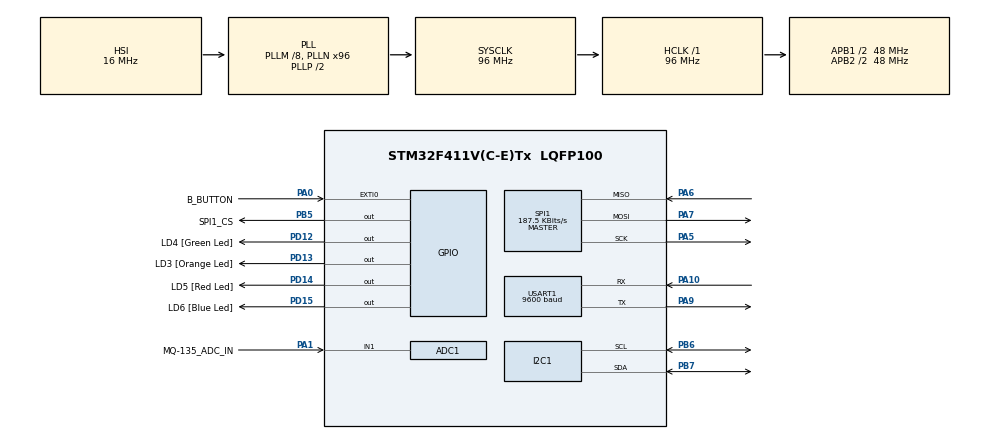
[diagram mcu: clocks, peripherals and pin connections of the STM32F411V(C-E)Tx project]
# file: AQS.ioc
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ADC1.Channel-1\#ChannelRegularConversion=ADC_CHANNEL_1
ADC1.NbrOfConversionFlag=1
ADC1.Rank-1\#ChannelRegularConversion=1
ADC1.SamplingTime-1\#ChannelRegularConversion=ADC_SAMPLETIME_3CYCLES
ADC1.master=1
Mcu.Family=STM32F4
Mcu.Name=STM32F411V(C-E)Tx
Mcu.Package=LQFP100
NVIC.EXTI0_IRQn=true\:0\:0\:false\:false\:true\:true\:true\:true
NVIC.PriorityGroup=NVIC_PRIORITYGROUP_0
NVIC.TIM1_UP_TIM10_IRQn=true\:0\:0\:false\:false\:true\:true\:true\:true
NVIC.USART1_IRQn=true\:0\:0\:false\:false\:true\:true\:true\:true
PA0-WKUP.GPIO_Label=B_BUTTON
PA0-WKUP.GPIO_PuPd=GPIO_PULLDOWN
PA0-WKUP.Signal=GPXTI0
PA1.GPIO_Label=MQ-135_ADC_IN
PA1.Signal=ADCx_IN1
PA10.Mode=Asynchronous
PA10.Signal=USART1_RX
PA5.GPIO_PuPd=GPIO_NOPULL
PA5.GPIO_Speed=GPIO_SPEED_FREQ_LOW
PA5.Mode=Full_Duplex_Master
PA5.Signal=SPI1_SCK
PA6.GPIO_PuPd=GPIO_NOPULL
PA6.GPIO_Speed=GPIO_SPEED_FREQ_LOW
PA6.Mode=Full_Duplex_Master
PA6.Signal=SPI1_MISO
PA7.GPIO_PuPd=GPIO_NOPULL
PA7.GPIO_Speed=GPIO_SPEED_FREQ_LOW
PA7.Mode=Full_Duplex_Master
PA7.Signal=SPI1_MOSI
PA9.Mode=Asynchronous
PA9.Signal=USART1_TX
PB5.GPIO_Label=SPI1_CS
PB5.GPIO_PuPd=GPIO_PULLUP
PB5.PinState=GPIO_PIN_SET
PB5.Signal=GPIO_Output
PB6.GPIO_Pu=GPIO_PULLUP
PB6.Mode=I2C
PB6.Signal=I2C1_SCL
PB7.GPIO_Pu=GPIO_PULLUP
PB7.Mode=I2C
PB7.Signal=I2C1_SDA
PD12.GPIO_Label=LD4 [Green Led]
PD12.GPIO_PuPd=GPIO_NOPULL
PD12.GPIO_Speed=GPIO_SPEED_FREQ_LOW
PD12.Signal=GPIO_Output
PD13.GPIO_Label=LD3 [Orange Led]
PD13.GPIO_PuPd=GPIO_NOPULL
PD13.GPIO_Speed=GPIO_SPEED_FREQ_LOW
PD13.Signal=GPIO_Output
PD14.GPIO_Label=LD5 [Red Led]
PD14.GPIO_PuPd=GPIO_NOPULL
PD14.GPIO_Speed=GPIO_SPEED_FREQ_LOW
PD14.Signal=GPIO_Output
PD15.GPIO_Label=LD6 [Blue Led]
PD15.GPIO_PuPd=GPIO_NOPULL
PD15.GPIO_Speed=GPIO_SPEED_FREQ_LOW
PD15.Signal=GPIO_Output
ProjectManager.HeapSize=0x200
ProjectManager.StackSize=0x400
ProjectManager.TargetToolchain=STM32CubeIDE
RCC.48MHZClocksFreq_Value=24000000
RCC.AHBFreq_Value=96000000
RCC.APB1CLKDivider=RCC_HCLK_DIV2
RCC.APB1Freq_Value=48000000
RCC.APB1TimFreq_Value=96000000
RCC.APB2CLKDivider=RCC_HCLK_DIV2
RCC.APB2Freq_Value=48000000
RCC.APB2TimFreq_Value=96000000
RCC.CortexFreq_Value=96000000
RCC.HCLKFreq_Value=96000000
RCC.HSE_VALUE=8000000
RCC.HSI_VALUE=16000000
RCC.LSE_VALUE=32768
RCC.PLLI2SM=5
RCC.PLLI2SN=200
RCC.PLLM=8
RCC.PLLN=96
RCC.PLLQ=8
RCC.SYSCLKFreq_VALUE=96000000
RCC.SYSCLKSource=RCC_SYSCLKSOURCE_PLLCLK
RCC.VCOOutputFreq_Value=192000000
SH.ADCx_IN1.0=ADC1_IN1,IN1
SPI1.BaudRatePrescaler=SPI_BAUDRATEPRESCALER_256
SPI1.CalculateBaudRate=187.5 KBits/s
SPI1.Direction=SPI_DIRECTION_2LINES
SPI1.Mode=SPI_MODE_MASTER
SPI1.VirtualType=VM_MASTER
TIM10.Period=4999
TIM10.Prescaler=9999
USART1.BaudRate=9600
USART1.VirtualMode=VM_ASYNC
VP_FATFS_VS_Generic.Mode=User_defined
VP_TIM10_VS_ClockSourceINT.Mode=Enable_Timer
board=STM32F411E-DISCO

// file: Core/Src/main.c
/* USER CODE BEGIN Header */
/**
  ******************************************************************************
  * @file           : main.c
  * @brief          : Main program body - Air Quality System
  ******************************************************************************
  * @project Rejestrator Jakości Powietrza oparty na mikrokontrolerze STM32F411.
  *
  * @details Projekt będzie umożliwiał pomiar i rejestrowanie parametrów
  * środowiskowych. System będzie wyposażony w czujnik jakości powietrza
  * MQ-135, wyświetlacz LCD 4x20, oraz moduł komunikacyjny Bluetooth do
  * przesyłania danych do aplikacji mobilnej. Dodatkowo dane będą mogły
  * być zapisywane na karcie SD.
  *
  * @authors
  * 		Milena Kuna		325033		milena.z.kuna@gmail.com
  * 		Karol Franczuk	325000
  *
  * @todo
  *          - [ ] Ustabilizować inicjalizację SD (problemy ze statusem STA_NOINIT)
  *          - [ ] Ustalić, co jest nie tak z tymi modułami bluetooth
  *          - [ ] Zapisywać dane z SD w formacie CSV lub ładnie sformatowany txt
  *
  * @known_issues
  *          - f_getfree error (3): prawdopodobnie wynik błędnej inicjalizacji FATFS (STA_NOINIT) - w trakcie debugowania
  *          - komunikacja uC - HC-06 zaburzona - sprawdzałem różne baudrate, połączenia - na prawdę już nie wiem o co chodzi...
  *
  * @notes
  *          - Do poprawnej inicjalizacji SD wymagane są opóźnienia ~1 sekundy po zasileniu
  *          - Testowane na kartach: microSD 32GB (SDHC Sandisk)(FAT32)
  *
  * @attention
  *
  * Copyright (c) 2025 STMicroelectronics.
  * All rights reserved.
  *
  * This software is licensed under terms that can be found in the LICENSE file
  * in the root directory of this software component.
  * If no LICENSE file comes with this software, it is provided AS-IS.
  *
  ******************************************************************************
  */
/* USER CODE END Header */
#include "main.h"
#include "fatfs.h"

/* USER CODE BEGIN Includes */
#include <stdbool.h>
#include <stdarg.h>
#include <math.h>
#include <stdio.h>
#include <stdlib.h>
#include <string.h>
#include "i2c-lcd.h"
#include <stm32f4xx_hal.h>
#include "stm32f4xx.h"

/* USER CODE END Includes */

/* USER CODE BEGIN PTD */

// Struktura dla danych z czujnika MQ-135
typedef struct {
    float voltage;         		// Napięcie analogowe [V]
    float Rs;              		// Rezystancja czujnika [kΩ]
    float ppm;              	// Gas Contamination Index (GCI)
    uint8_t air_quality_level;  // Poziom jakości powietrza (0-3)
} MQ135_Data;

// Struktura główna, agregująca wszystkie dane do zapisu - bez działającej SD nieużywana
typedef struct {
    uint32_t measurement_id; // Unikalny ID pomiaru
    MQ135_Data sensor;      // Dane z czujnika
    char timestamp[20];     // Znacznik czasu (np. "2024-05-20 14:30:00")
} AQS_Data;

/* USER CODE END PTD */

/* USER CODE BEGIN PD */
// Stałe kalibracyjne
#define V0_CLEAN_AIR     0.65f   // Napięcie w czystym powietrzu [V]
#define R_LOAD           10.0f   // Rezystor obciążeniowy [kΩ] - niezależne od kalibracji
#define R0               66.51f  // Obliczone R0 [kΩ]

volatile bool heating_skipped = false;
/* USER CODE END PD */

ADC_HandleTypeDef hadc1;

I2C_HandleTypeDef hi2c1;

SPI_HandleTypeDef hspi1;

TIM_HandleTypeDef htim10;

UART_HandleTypeDef huart1;

void SystemClock_Config(void);
static void MX_GPIO_Init(void);
static void MX_ADC1_Init(void);
static void MX_I2C1_Init(void);
static void MX_USART1_UART_Init(void);
static void MX_TIM10_Init(void);
static void MX_SPI1_Init(void);
/* USER CODE BEGIN PFP */
extern void initialise_monitor_handles(void);
/* USER CODE END PFP */

/* USER CODE BEGIN 0 */

uint32_t Read_MQ135() {		// czytanie wartości ADC z czujnika MQ
    uint32_t adc_value = 0;
    HAL_ADC_Start(&hadc1);

    if (HAL_ADC_PollForConversion(&hadc1, 10) == HAL_OK) {
        adc_value = HAL_ADC_GetValue(&hadc1);
    }
    HAL_ADC_Stop(&hadc1);
    return adc_value;
}

void update_measurement(MQ135_Data *data) {		// przetworzenie wyniku odczytanego z ADC
    data->voltage = (Read_MQ135() * 2.97f) / 4095.0f;	// obliczenie napięcia 2.97 V VrefADC - voltomierz
    data->Rs = ((5.0f - data->voltage) / data->voltage) * 10.0f;  // R_load = 10 kΩ - zmierzone omomierzem, 5V - Vcc
    data->ppm = 116.602f * powf((data->Rs / R0), -2.769f);

    // ograniczenie GCI do 20000
    if (data->ppm > 20000) data->ppm = 20000;

    // klasyfikacja jakosci powietrza
    if (data->ppm < 700) data->air_quality_level = 0;       // :D Great
    else if (data->ppm < 2000) data->air_quality_level = 1;  // :) Good
    else if (data->ppm < 5000) data->air_quality_level = 2; // :|	Poor
    else data->air_quality_level = 3;                       // :(	Bad
}

void I2C_Scan() {	// funkcja do sprawdzania dostępności urządzeń na I2C
    printf("Scanning I2C bus...\r\n");
    for (uint8_t addr = 1; addr < 128; addr++) {
        if (HAL_I2C_IsDeviceReady(&hi2c1, addr << 1, 1, 10) == HAL_OK) {
            printf("Found device at 0x%02X\r\n", addr << 1);
        }
    }
}

void lcd_printf(const char *fmt, ...) {		//printowanie po LCD
    char buffer[64]; // zwiększ jeśli masz długie ciągi znakow
    va_list args;
    va_start(args, fmt);
    vsnprintf(buffer, sizeof(buffer), fmt, args);
    va_end(args);
    lcd_send_string(buffer);
}

// funkcje do opóźnień nieblokujących
#define SYSTICK_LOAD (SystemCoreClock/1000000U)
#define SYSTICK_DELAY_CALIB (SYSTICK_LOAD >> 1)

#define DELAY_US(us) \
    do { \
         uint32_t start = SysTick->VAL; \
         uint32_t ticks = (us * SYSTICK_LOAD)-SYSTICK_DELAY_CALIB;  \
         while((start - SysTick->VAL) < ticks); \
    } while (0)

#define DELAY_MS(ms) \
    do { \
        for (uint32_t i = 0; i < ms; ++i) { \
            DELAY_US(1000); \
        } \
    } while (0)

// sekwencja przygotowująca czujnik do pomiarów - nagrzewanie
void run_heating_sequence(void)
{
    uint32_t total_seconds = 300; // 5 minut = 300 sekund

    lcd_clear();
    lcd_send_cmd(0x80);
    lcd_send_string("Nagrzewanie...");
    lcd_send_cmd(0xC0);

    for (uint32_t remaining = total_seconds; remaining > 0; --remaining)
    {
        if (heating_skipped) {
            lcd_clear();
            lcd_send_string("Pominieto...");
            DELAY_MS(1000);
            break;
        }

        uint32_t min = remaining / 60;
        uint32_t sec = remaining % 60;

        char line2[16];
        snprintf(line2, sizeof(line2), "Czas: %02lu:%02lu", min, sec);
        lcd_send_cmd(0xC0);
        lcd_send_string(line2);

        DELAY_MS(1000);
    }

    lcd_clear();
    lcd_send_string("Gotowe!");
    DELAY_MS(1000);
}

// Inicjalizacja struktury MQ - potrzebna jest w przerwaniu
MQ135_Data data;

/* USER CODE END 0 */

int main(void)
{

  /* MCU Configuration--------------------------------------------------------*/

  /* Reset of all peripherals, Initializes the Flash interface and the Systick. */
  HAL_Init();

  /* USER CODE BEGIN Init */
 // initialise_monitor_handles();
  /* USER CODE END Init */

  /* Configure the system clock */
  SystemClock_Config();

  /* Initialize all configured peripherals */
  MX_GPIO_Init();
  MX_ADC1_Init();
  MX_I2C1_Init();
  MX_USART1_UART_Init();
  MX_TIM10_Init();
  MX_SPI1_Init();
  MX_FATFS_Init();
  /* USER CODE BEGIN 2 */

 // init timera do przerwań i przesyłu przez BT
  HAL_TIM_Base_Start_IT(&htim10);
  // inicjalizacja ekranu
  lcd_init();

  run_heating_sequence();

  /* USER CODE END 2 */

  /* Infinite loop */
  /* USER CODE BEGIN WHILE */
  while (1) {
	  update_measurement(&data);
	  lcd_send_cmd (0x80|0x00); // linia 1, kol 1
	  lcd_printf("PPM: %.2f ", data.ppm);

	  lcd_send_cmd(0x80 | 0x40);  // linia 2, kol 1
	  lcd_printf("Air Quality: %d ", data.air_quality_level);

	  DELAY_MS(1000); // opóźnienie nieblokujące
    /* USER CODE END WHILE */

  }
}

void SystemClock_Config(void)
{
  RCC_OscInitTypeDef RCC_OscInitStruct = {0};
  RCC_ClkInitTypeDef RCC_ClkInitStruct = {0};

  /** Configure the main internal regulator output voltage
  */
  __HAL_RCC_PWR_CLK_ENABLE();
  __HAL_PWR_VOLTAGESCALING_CONFIG(PWR_REGULATOR_VOLTAGE_SCALE1);

  /** Initializes the RCC Oscillators according to the specified parameters
  * in the RCC_OscInitTypeDef structure.
  */
  RCC_OscInitStruct.OscillatorType = RCC_OSCILLATORTYPE_HSI;
  RCC_OscInitStruct.HSIState = RCC_HSI_ON;
  RCC_OscInitStruct.HSICalibrationValue = RCC_HSICALIBRATION_DEFAULT;
  RCC_OscInitStruct.PLL.PLLState = RCC_PLL_ON;
  RCC_OscInitStruct.PLL.PLLSource = RCC_PLLSOURCE_HSI;
  RCC_OscInitStruct.PLL.PLLM = 8;
  RCC_OscInitStruct.PLL.PLLN = 96;
  RCC_OscInitStruct.PLL.PLLP = RCC_PLLP_DIV2;
  RCC_OscInitStruct.PLL.PLLQ = 8;
  if (HAL_RCC_OscConfig(&RCC_OscInitStruct) != HAL_OK)
  {
    Error_Handler();
  }

  /** Initializes the CPU, AHB and APB buses clocks
  */
  RCC_ClkInitStruct.ClockType = RCC_CLOCKTYPE_HCLK|RCC_CLOCKTYPE_SYSCLK
                              |RCC_CLOCKTYPE_PCLK1|RCC_CLOCKTYPE_PCLK2;
  RCC_ClkInitStruct.SYSCLKSource = RCC_SYSCLKSOURCE_PLLCLK;
  RCC_ClkInitStruct.AHBCLKDivider = RCC_SYSCLK_DIV1;
  RCC_ClkInitStruct.APB1CLKDivider = RCC_HCLK_DIV2;
  RCC_ClkInitStruct.APB2CLKDivider = RCC_HCLK_DIV2;

  if (HAL_RCC_ClockConfig(&RCC_ClkInitStruct, FLASH_LATENCY_3) != HAL_OK)
  {
    Error_Handler();
  }
}

static void MX_ADC1_Init(void)
{

  ADC_ChannelConfTypeDef sConfig = {0};

  /** Configure the global features of the ADC (Clock, Resolution, Data Alignment and number of conversion)
  */
  hadc1.Instance = ADC1;
  hadc1.Init.ClockPrescaler = ADC_CLOCK_SYNC_PCLK_DIV2;
  hadc1.Init.Resolution = ADC_RESOLUTION_12B;
  hadc1.Init.ScanConvMode = DISABLE;
  hadc1.Init.ContinuousConvMode = DISABLE;
  hadc1.Init.DiscontinuousConvMode = DISABLE;
  hadc1.Init.ExternalTrigConvEdge = ADC_EXTERNALTRIGCONVEDGE_NONE;
  hadc1.Init.ExternalTrigConv = ADC_SOFTWARE_START;
  hadc1.Init.DataAlign = ADC_DATAALIGN_RIGHT;
  hadc1.Init.NbrOfConversion = 1;
  hadc1.Init.DMAContinuousRequests = DISABLE;
  hadc1.Init.EOCSelection = ADC_EOC_SINGLE_CONV;
  if (HAL_ADC_Init(&hadc1) != HAL_OK)
  {
    Error_Handler();
  }

  /** Configure for the selected ADC regular channel its corresponding rank in the sequencer and its sample time.
  */
  sConfig.Channel = ADC_CHANNEL_1;
  sConfig.Rank = 1;
  sConfig.SamplingTime = ADC_SAMPLETIME_3CYCLES;
  if (HAL_ADC_ConfigChannel(&hadc1, &sConfig) != HAL_OK)
  {
    Error_Handler();
  }

}

static void MX_I2C1_Init(void)
{

  hi2c1.Instance = I2C1;
  hi2c1.Init.ClockSpeed = 100000;
  hi2c1.Init.DutyCycle = I2C_DUTYCYCLE_2;
  hi2c1.Init.OwnAddress1 = 0;
  hi2c1.Init.AddressingMode = I2C_ADDRESSINGMODE_7BIT;
  hi2c1.Init.DualAddressMode = I2C_DUALADDRESS_DISABLE;
  hi2c1.Init.OwnAddress2 = 0;
  hi2c1.Init.GeneralCallMode = I2C_GENERALCALL_DISABLE;
  hi2c1.Init.NoStretchMode = I2C_NOSTRETCH_DISABLE;
  if (HAL_I2C_Init(&hi2c1) != HAL_OK)
  {
    Error_Handler();
  }

}

static void MX_SPI1_Init(void)
{

  /* SPI1 parameter configuration*/
  hspi1.Instance = SPI1;
  hspi1.Init.Mode = SPI_MODE_MASTER;
  hspi1.Init.Direction = SPI_DIRECTION_2LINES;
  hspi1.Init.DataSize = SPI_DATASIZE_8BIT;
  hspi1.Init.CLKPolarity = SPI_POLARITY_LOW;
  hspi1.Init.CLKPhase = SPI_PHASE_1EDGE;
  hspi1.Init.NSS = SPI_NSS_SOFT;
  hspi1.Init.BaudRatePrescaler = SPI_BAUDRATEPRESCALER_256;
  hspi1.Init.FirstBit = SPI_FIRSTBIT_MSB;
  hspi1.Init.TIMode = SPI_TIMODE_DISABLE;
  hspi1.Init.CRCCalculation = SPI_CRCCALCULATION_DISABLE;
  hspi1.Init.CRCPolynomial = 10;
  if (HAL_SPI_Init(&hspi1) != HAL_OK)
  {
    Error_Handler();
  }

}

static void MX_TIM10_Init(void)
{

  htim10.Instance = TIM10;
  htim10.Init.Prescaler = 9999;
  htim10.Init.CounterMode = TIM_COUNTERMODE_UP;
  htim10.Init.Period = 4999;
  htim10.Init.ClockDivision = TIM_CLOCKDIVISION_DIV1;
  htim10.Init.AutoReloadPreload = TIM_AUTORELOAD_PRELOAD_DISABLE;
  if (HAL_TIM_Base_Init(&htim10) != HAL_OK)
  {
    Error_Handler();
  }

}

static void MX_USART1_UART_Init(void)
{

  huart1.Instance = USART1;
  huart1.Init.BaudRate = 9600;
  huart1.Init.WordLength = UART_WORDLENGTH_8B;
  huart1.Init.StopBits = UART_STOPBITS_1;
  huart1.Init.Parity = UART_PARITY_NONE;
  huart1.Init.Mode = UART_MODE_TX_RX;
  huart1.Init.HwFlowCtl = UART_HWCONTROL_NONE;
  huart1.Init.OverSampling = UART_OVERSAMPLING_16;
  if (HAL_UART_Init(&huart1) != HAL_OK)
  {
    Error_Handler();
  }

}

static void MX_GPIO_Init(void)
{
  GPIO_InitTypeDef GPIO_InitStruct = {0};

  /* GPIO Ports Clock Enable */
  __HAL_RCC_GPIOA_CLK_ENABLE();
  __HAL_RCC_GPIOD_CLK_ENABLE();
  __HAL_RCC_GPIOB_CLK_ENABLE();

  /*Configure GPIO pin Output Level */
  HAL_GPIO_WritePin(GPIOD, LD4_Pin|LD3_Pin|LD5_Pin|LD6_Pin, GPIO_PIN_RESET);

  /*Configure GPIO pin Output Level */
  HAL_GPIO_WritePin(SPI1_CS_GPIO_Port, SPI1_CS_Pin, GPIO_PIN_SET);

  /*Configure GPIO pin : B_BUTTON_Pin */
  GPIO_InitStruct.Pin = B_BUTTON_Pin;
  GPIO_InitStruct.Mode = GPIO_MODE_IT_RISING;
  GPIO_InitStruct.Pull = GPIO_PULLDOWN;
  HAL_GPIO_Init(B_BUTTON_GPIO_Port, &GPIO_InitStruct);

  /*Configure GPIO pins : LD4_Pin LD3_Pin LD5_Pin LD6_Pin */
  GPIO_InitStruct.Pin = LD4_Pin|LD3_Pin|LD5_Pin|LD6_Pin;
  GPIO_InitStruct.Mode = GPIO_MODE_OUTPUT_PP;
  GPIO_InitStruct.Pull = GPIO_NOPULL;
  GPIO_InitStruct.Speed = GPIO_SPEED_FREQ_LOW;
  HAL_GPIO_Init(GPIOD, &GPIO_InitStruct);

  /*Configure GPIO pin : SPI1_CS_Pin */
  GPIO_InitStruct.Pin = SPI1_CS_Pin;
  GPIO_InitStruct.Mode = GPIO_MODE_OUTPUT_PP;
  GPIO_InitStruct.Pull = GPIO_PULLUP;
  GPIO_InitStruct.Speed = GPIO_SPEED_FREQ_LOW;
  HAL_GPIO_Init(SPI1_CS_GPIO_Port, &GPIO_InitStruct);

  /* EXTI interrupt init*/
  HAL_NVIC_SetPriority(EXTI0_IRQn, 0, 0);
  HAL_NVIC_EnableIRQ(EXTI0_IRQn);

}

/* USER CODE BEGIN 4 */

void HAL_GPIO_EXTI_Callback(uint16_t GPIO_Pin)
{
    if (GPIO_Pin == B_BUTTON_Pin) // PA0 przerwanie sekwencji nagrzewania przyciskiem
    {
        heating_skipped = true;
    }
}

void HAL_TIM_PeriodElapsedCallback(TIM_HandleTypeDef *htim) {	//przerwanie - nadawanie info na BT z wykorzystaniem timera
	 uint8_t msg_data[50];
	 uint16_t size = 0; //rozmiar wiadomości

	 size = sprintf(msg_data,"Air Quality: %d.nr ", data.air_quality_level); // Stworzenie wiadomosci
	 HAL_UART_Transmit_IT(&huart1, msg_data, size); // Rozpoczecie nadawania danych z wykorzystaniem przerwan
	 HAL_GPIO_TogglePin(LD6_GPIO_Port, LD6_Pin); // Zmiana stanu pinu na diodzie LED przy każdym przerwaniu
}

/* USER CODE END PFP */

/* USER CODE END 4 */

void Error_Handler(void)
{
  __disable_irq();
  while (1)
  {
  }
}
